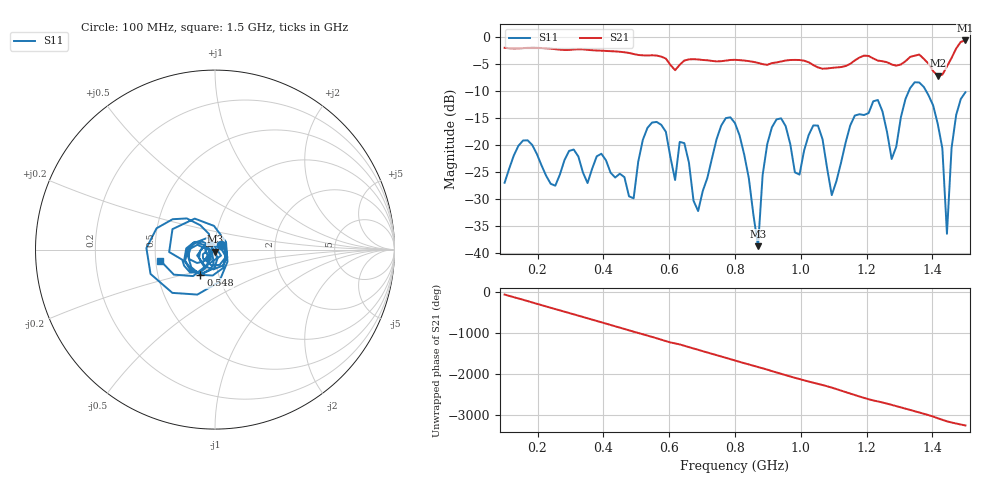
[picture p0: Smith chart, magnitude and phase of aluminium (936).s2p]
! NanoVNA-App
! Date: 2025-09-25 15:02:34
! Start: 100MHz Stop: 1,5GHz Points: 101
! S-Parameter data: F S11 S21 S12 S22
# Hz S RI R 50
!  Frequency  S11_Real  S11_Imag  S21_Real  S21_Imag  S12_Real  S12_Imag  S22_Real  S22_Imag
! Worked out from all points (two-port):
!   101 points, 100 MHz to 1.5 GHz, reference 50 ohm
!   highest |S21| = -0.55 dB at 1.5 GHz (marker M1); lowest = -7.1 dB at 1.416 GHz (marker M2)
!   |S21| within 3 dB of the highest: start of sweep to 576.3 MHz; 1.46 GHz to end of sweep (the widest 2 of 4)
!   lowest |S11| = -38.7 dB at 870 MHz (marker M3), VSWR 1.02, Z = 50.2 - j1.14 ohm
!   |S11| at or under -10 dB: start of sweep to 1.328 GHz; 1.381 GHz to end of sweep
!   S12 and S22 are empty: the file has one direction only
!   S11 on the Smith chart (normalised r, x): 100 MHz: 1.07, +0.06; 548 MHz: 0.82, -0.24; 1.5 GHz: 0.53, -0.07
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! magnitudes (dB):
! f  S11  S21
! 100 MHz  -27.0  -1.9
! 156 MHz  -19.1  -2.0
! 338 MHz  -25.1  -2.2
! 492 MHz  -29.8  -3.1
! 548 MHz  -15.8  -3.3
! 576 MHz  -16.2  -3.5
! 618 MHz  -26.5  -6.1
! 646 MHz  -19.6  -4.3
! 688 MHz  -32.2  -4.1
! 800 MHz  -15.9  -4.1
! 870 MHz  -38.7  -4.7
! 912 MHz  -16.7  -4.8
! 996 MHz  -25.4  -4.2
! 1.038 GHz  -16.3  -5.1
! 1.094 GHz  -29.3  -5.6
! 1.22 GHz  -11.8  -3.9
! 1.276 GHz  -22.5  -5.0
! 1.346 GHz  -8.3  -3.4
! 1.416 GHz  -16.0  -7.1
! 1.444 GHz  -36.4  -5.4
! 1.458 GHz  -20.5  -3.8
! 1.5 GHz  -10.2  -0.6
